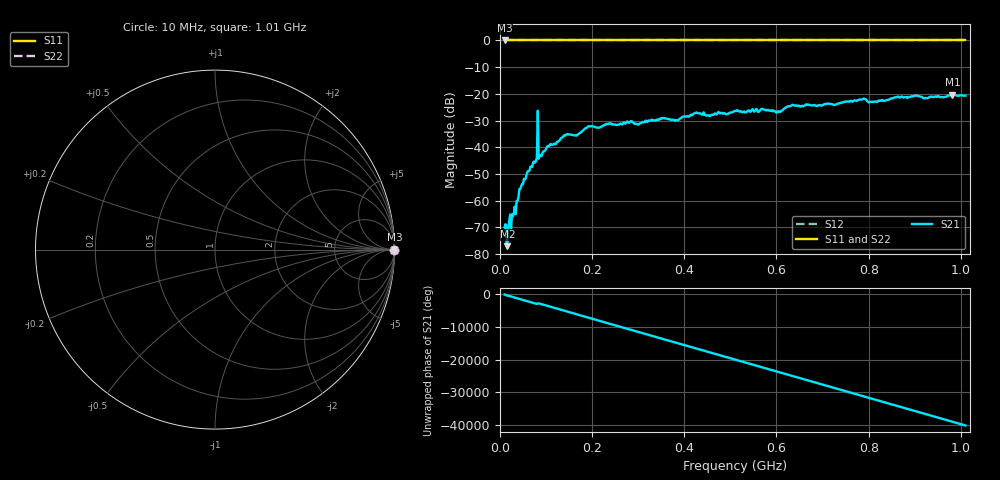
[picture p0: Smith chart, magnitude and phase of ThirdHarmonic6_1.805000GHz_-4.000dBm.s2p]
! 8/16/2025 9:51:08 PM
! C:\ANRITSUVNA\TEMP\TEMP.S2P
! CHANNEL.1
! TR.MEASUREMENT
! RAW.DATA
! RF.CORRECTION.OFF
! AVERAGING.OFF
! IF.BANDWIDTH: 5KHZ
! SWEEPTYPE:  FREQ.SWEEP(Linear)
! Reference Plane Port Info
! PORT:  PORT1  PORT2
! DISTANCE:  0  m  0  m
! TIME:  0  s  0  s
! PHASE.OFFSET:  0  deg.  0  deg.
! LOSS:  0  dB  0  dB
! REF.LOSS:  0  dB  0  dB
! REF.FREQ:  0  Hz  0  Hz
! Power Info
! POWER:  -20  dBm  -20  dBm
! EFF.POWER:  -20  dBm  -20  dBm
! SOURCE.ATTEN:  0  dB  0  dB
! TEST.ATTEN:  0  dB  0  dB
# GHZ S RI R 50.0
! FREQ.GHZ  S11RE  S11IM  S21RE  S21IM  S12RE  S12IM  S22RE  S22IM
!; PortSelection: Port_12
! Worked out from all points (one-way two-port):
!   501 points, 10 MHz to 1.01 GHz, reference 50 ohm
!   highest |S21| = -20.29 dB at 982 MHz (marker M1); lowest = -77.1 dB at 16 MHz (marker M2)
!   lowest |S11| = 0.0 dB at 10 MHz (marker M3)
!   |S11| at or under -10 dB: nowhere
!   |S22| runs from 0.0 to 0.0 dB; largest |S21 - S12| = 1.1
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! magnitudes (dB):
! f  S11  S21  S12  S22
! 10 MHz  0.0  -70.0  0.0  0.0
! 12 MHz  0.0  -68.9  0.0  0.0
! 16 MHz  0.0  -77.1  0.0  0.0
! 46 MHz  0.0  -54.6  0.0  0.0
! 76 MHz  0.0  -45.8  0.0  0.0
! 78 MHz  0.0  -45.2  0.0  0.0
! 86 MHz  0.0  -43.3  0.0  0.0
! 88 MHz  0.0  -42.9  0.0  0.0
! 106 MHz  0.0  -39.7  0.0  0.0
! 142 MHz  0.0  -35.6  0.0  0.0
! 178 MHz  0.0  -34.0  0.0  0.0
! 196 MHz  0.0  -32.2  0.0  0.0
! 344 MHz  0.0  -29.8  0.0  0.0
! 384 MHz  0.0  -29.9  0.0  0.0
! 424 MHz  0.0  -27.2  0.0  0.0
! 510 MHz  0.0  -26.4  0.0  0.0
! 604 MHz  0.0  -26.5  0.0  0.0
! 634 MHz  0.0  -24.1  0.0  0.0
! 678 MHz  0.0  -24.3  0.0  0.0
! 844 MHz  0.0  -22.2  0.0  0.0
! 982 MHz  0.0  -20.3  0.0  0.0
! 1.01 GHz  0.0  -20.7  0.0  0.0
